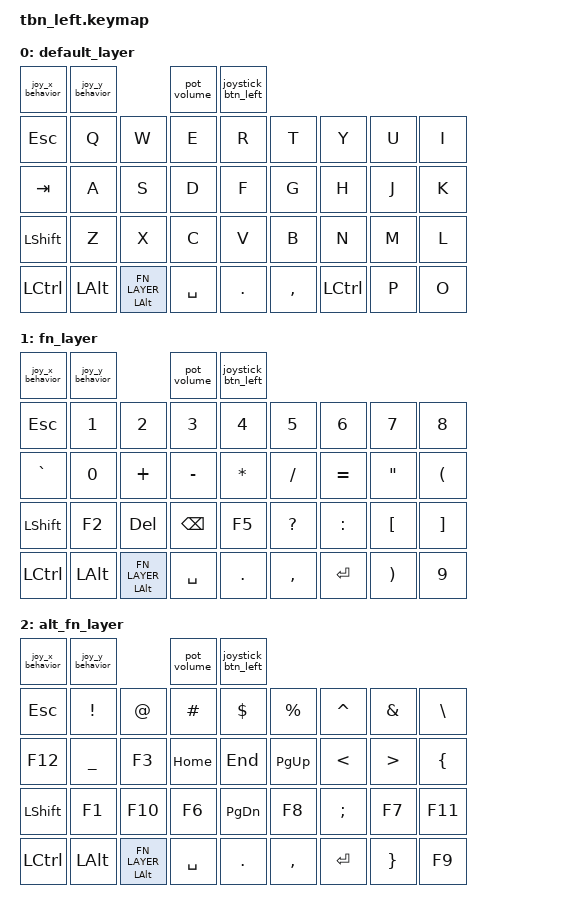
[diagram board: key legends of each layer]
/ {
    keymap {
        compatible = "zmk,keymap";

        default_layer {
            bindings = <
                &joy_x_behavior &joy_y_behavior &pot_volume &joystick_btn_left

                &kp ESC     &kp Q      &kp W        &kp E     &kp R      &kp T      &kp Y      &kp U      &kp I
                &kp TAB     &kp A      &kp S        &kp D     &kp F      &kp G      &kp H      &kp J      &kp K
                &kp LSHFT   &kp Z      &kp X        &kp C     &kp V      &kp B      &kp N      &kp M      &kp L
                &kp LCTRL   &kp LALT   &mt LALT FN_LAYER &kp SPACE &kp DOT &kp COMMA &kp LCTRL  &kp P      &kp O
            >;
        };

        fn_layer {
            bindings = <
                &joy_x_behavior &joy_y_behavior &pot_volume &joystick_btn_left

                &kp ESC     &kp N1     &kp N2       &kp N3      &kp N4      &kp N5     &kp N6     &kp N7     &kp N8
                &kp GRAVE   &kp N0     &kp PLUS     &kp MINUS   &kp STAR    &kp SLASH  &kp EQUAL  &kp DQT    &kp LPAR
                &kp LSHFT   &kp F2     &kp DEL      &kp BSPC    &kp F5      &kp QMARK  &kp COLON  &kp LBKT   &kp RBKT
                &kp LCTRL   &kp LALT   &mt LALT FN_LAYER &kp SPACE &kp DOT &kp COMMA &kp ENTER  &kp RPAR   &kp N9
            >;
        };

        alt_fn_layer {
            bindings = <
                &joy_x_behavior &joy_y_behavior &pot_volume &joystick_btn_left

                &kp ESC     &kp EXCL   &kp AT      &kp HASH    &kp DLLR   &kp PRCNT  &kp CARET  &kp AMPS   &kp BSLH
                &kp F12     &kp UNDER  &kp F3      &kp HOME    &kp END    &kp PG_UP  &kp LT     &kp GT     &kp LBRC
                &kp LSHFT   &kp F1     &kp F10     &kp F6      &kp PG_DN  &kp F8     &kp SEMI   &kp F7     &kp F11
                &kp LCTRL   &kp LALT   &mt LALT FN_LAYER &kp SPACE &kp DOT &kp COMMA &kp ENTER  &kp RBRC   &kp F9
            >;
        };
    };
};
